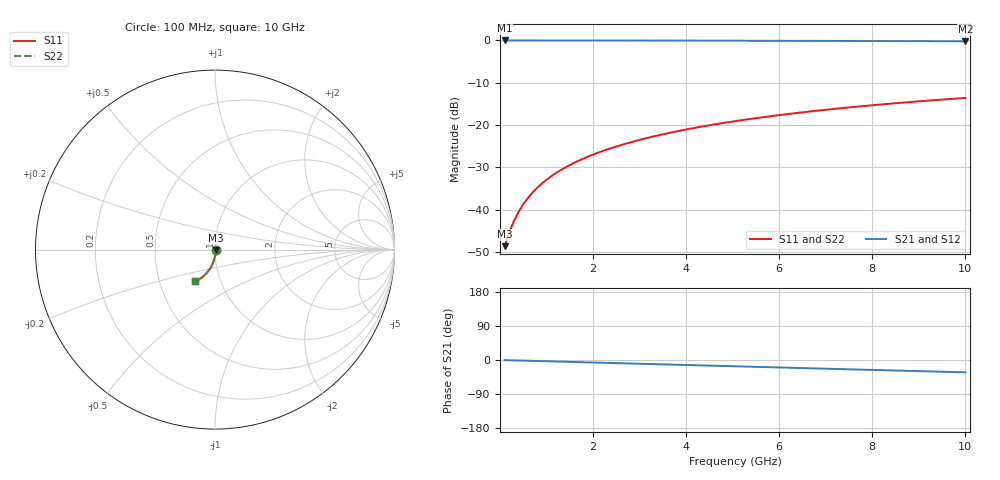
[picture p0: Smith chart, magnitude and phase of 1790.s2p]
# Hz S RI R 50.00
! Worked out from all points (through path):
!   100 points, 100 MHz to 10 GHz, reference 50 ohm
!   highest |S21| = -0.03 dB at 100 MHz (marker M1); lowest = -0.2 dB at 10 GHz (marker M2)
!   group delay of S21, straight-line fit = 9.05 ps
!   lowest |S11| = -48.6 dB at 100 MHz (marker M3), VSWR 1.01, Z = 50.3 - j0.227 ohm
!   |S11| at or under -10 dB: start of sweep to end of sweep
!   |S22| runs from -48.6 to -13.6 dB; largest |S21 - S12| = 0
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1e8  0.00295 -0.00225  0.997 -0.00575  0.997 -0.00575  0.00295 -0.00225
2e8  0.00293 -0.00451  0.9969 -0.0115  0.9969 -0.0115  0.00293 -0.00451
3e8  0.00287 -0.00676  0.9968 -0.0172  0.9968 -0.0172  0.00287 -0.00676
4e8  0.00279 -0.00902  0.9967 -0.023  0.9967 -0.023  0.00279 -0.00902
5e8  0.00268 -0.0113  0.9965 -0.0287  0.9965 -0.0287  0.00268 -0.0113
6e8  0.00254 -0.0135  0.9963 -0.0345  0.9963 -0.0345  0.00254 -0.0135
7e8  0.00238 -0.0158  0.996 -0.0402  0.996 -0.0402  0.00238 -0.0158
9e8  0.00197 -0.0203  0.9954 -0.0517  0.9954 -0.0517  0.00197 -0.0203
1e9  0.00173 -0.0225  0.995 -0.0574  0.995 -0.0574  0.00173 -0.0225
1.2e9  0.00117 -0.027  0.9941 -0.0689  0.9941 -0.0689  0.00117 -0.027
1.5e9  0.00013 -0.0336  0.9926 -0.086  0.9926 -0.086  0.00013 -0.0336
1.8e9  -0.00114 -0.0403  0.9907 -0.1031  0.9907 -0.1031  -0.00114 -0.0403
2.1e9  -0.00263 -0.0469  0.9884 -0.1202  0.9884 -0.1202  -0.00263 -0.0469
2.5e9  -0.00498 -0.0555  0.9849 -0.1428  0.9849 -0.1428  -0.00498 -0.0555
2.9e9  -0.00772 -0.0641  0.9808 -0.1653  0.9808 -0.1653  -0.00772 -0.0641
3.4e9  -0.0117 -0.0746  0.9748 -0.1932  0.9748 -0.1932  -0.0117 -0.0746
4.2e9  -0.0192 -0.0908  0.9635 -0.2373  0.9635 -0.2373  -0.0192 -0.0908
5.1e9  -0.0294 -0.1082  0.948 -0.2859  0.948 -0.2859  -0.0294 -0.1082
5.9e9  -0.0399 -0.1225  0.932 -0.328  0.932 -0.328  -0.0399 -0.1225
6.7e9  -0.0516 -0.1359  0.914 -0.369  0.914 -0.369  -0.0516 -0.1359
8.4e9  -0.0798 -0.1602  0.8695 -0.4519  0.8695 -0.4519  -0.0798 -0.1602
1e10  -0.1098 -0.1777  0.8208 -0.5241  0.8208 -0.5241  -0.1098 -0.1777
